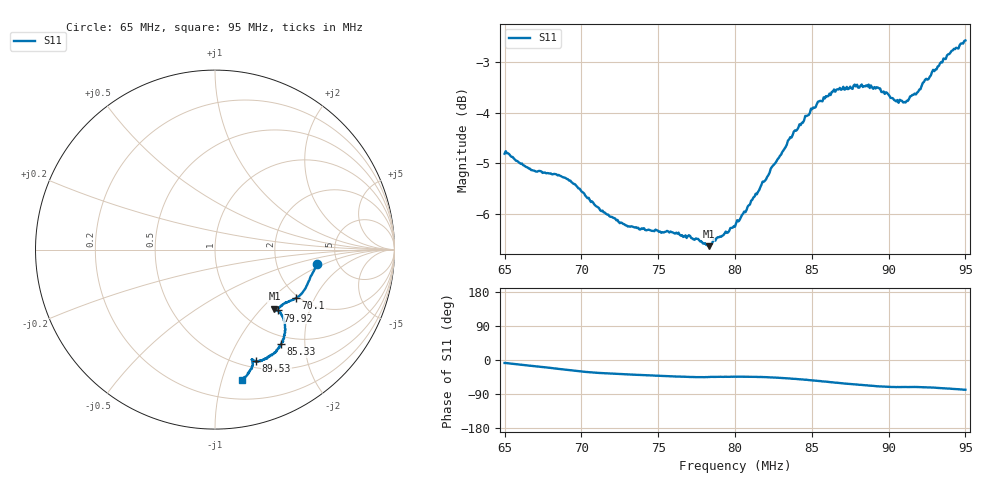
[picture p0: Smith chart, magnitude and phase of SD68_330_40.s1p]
! NanoVNA-App
! Date: 2025-08-09 13:10:52
! Start: 65MHz Stop: 95MHz Points: 401
! S-Parameter data: F S11
# Hz S RI R 50
!  Frequency  S11_Real  S11_Imag
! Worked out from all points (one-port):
!   401 points, 65 MHz to 95 MHz, reference 50 ohm
!   lowest |S11| = -6.6 dB at 78.28 MHz (marker M1), VSWR 2.75, Z = 70.5 - j59.2 ohm
!   |S11| at or under -10 dB: nowhere
!   S11 on the Smith chart (normalised r, x): 65 MHz: 3.49, -0.82; 70.1 MHz: 1.94, -1.45; 79.92 MHz: 1.42, -1.26; 85.33 MHz: 0.87, -1.56; 89.53 MHz: 0.57, -1.26; 95 MHz: 0.36, -1.16
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6.5e7  0.5694 -0.079
6.6875e7  0.5322 -0.1519
6.875e7  0.4961 -0.2268
6.9425e7  0.4751 -0.2528
7.01e7  0.452 -0.2703
7.115e7  0.4205 -0.2856
7.25e7  0.3935 -0.2942
7.625e7  0.3472 -0.331
7.7525e7  0.3344 -0.3363
7.8275e7  0.3312 -0.3284
7.9925e7  0.3509 -0.3391
8e7  0.3513 -0.338
8.0825e7  0.3657 -0.3555
8.2025e7  0.3819 -0.3855
8.3e7  0.3891 -0.4216
8.375e7  0.3892 -0.4559
8.45e7  0.3835 -0.4872
8.5325e7  0.3687 -0.5268
8.6525e7  0.3327 -0.5715
8.75e7  0.2997 -0.5981
8.855e7  0.2633 -0.6171
8.9525e7  0.2279 -0.6205
9.035e7  0.2093 -0.6146
9.125e7  0.2061 -0.614
9.1925e7  0.2102 -0.6271
9.2825e7  0.2064 -0.6599
9.395e7  0.1811 -0.697
9.5e7  0.1477 -0.7278
